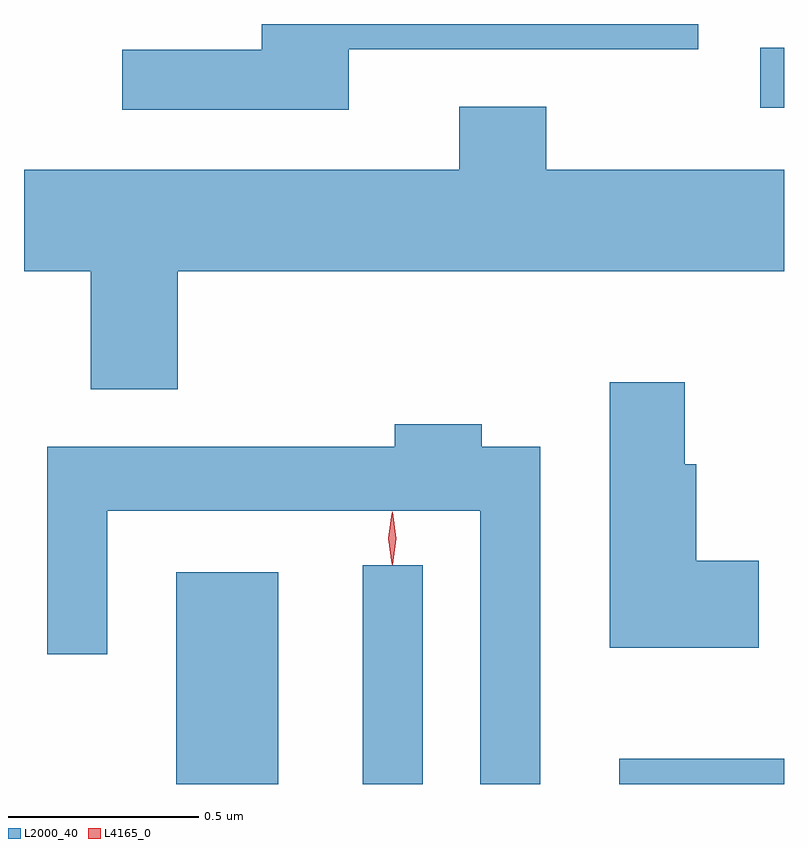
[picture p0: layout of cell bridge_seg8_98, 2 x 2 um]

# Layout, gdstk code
import gdstk
lib = gdstk.Library(unit=1e-6, precision=1e-09)
def R(c, l, rs):  # rectangles x0, y0, x1, y1
    for r in rs: c.add(gdstk.rectangle(r[:2], r[2:], *l))
def P(c, l, *ps):  # polygons
    for p in ps: c.add(gdstk.Polygon(p, *l))
L2000_40 = (2000, 40)
L4165_0 = (4165, 0)

bridge_seg8_98 = lib.new_cell('bridge_seg8_98')
R(bridge_seg8_98, L2000_40, [(1548.746,1812.867,1549.014,1813.424), (1549.236,1812.867,1549.394,1813.443), (1549.911,1812.867,1550.345,1812.934), (1550.283,1814.646,1550.345,1814.804)])
P(bridge_seg8_98, L2000_40, [(1549.199,1814.801),(1550.119,1814.801),(1550.119,1814.867),(1548.971,1814.867),(1548.971,1814.799),(1548.603,1814.799),(1548.603,1814.641),(1549.199,1814.641)],
  [(1548.749,1814.216),(1550.345,1814.216),(1550.345,1814.484),(1549.719,1814.484),(1549.719,1814.649),(1549.491,1814.649),(1549.491,1814.484),(1548.345,1814.484),(1548.345,1814.216),(1548.521,1814.216),(1548.521,1813.906),(1548.749,1813.906)],
  [(1550.279,1813.454),(1550.114,1813.454),(1550.114,1813.709),(1550.084,1813.709),(1550.084,1813.924),(1549.886,1813.924),(1549.886,1813.226),(1550.279,1813.226)],
  [(1549.704,1813.754),(1549.549,1813.754),(1549.549,1813.814),(1549.321,1813.814),(1549.321,1813.754),(1548.406,1813.754),(1548.406,1813.208),(1548.564,1813.208),(1548.564,1813.586),(1549.546,1813.586),(1549.546,1812.867),(1549.704,1812.867)])
P(bridge_seg8_98, L4165_0, [(1549.313,1813.447),(1549.304,1813.514),(1549.313,1813.58),(1549.314,1813.58),(1549.314,1813.58),(1549.324,1813.514),(1549.314,1813.447),(1549.314,1813.447)],
  [(1549.314,1813.444),(1549.314,1813.444),(1549.304,1813.513),(1549.314,1813.582),(1549.314,1813.583),(1549.315,1813.582),(1549.324,1813.513),(1549.315,1813.444)])

lib.write_gds('bridge_seg8_98.gds')
